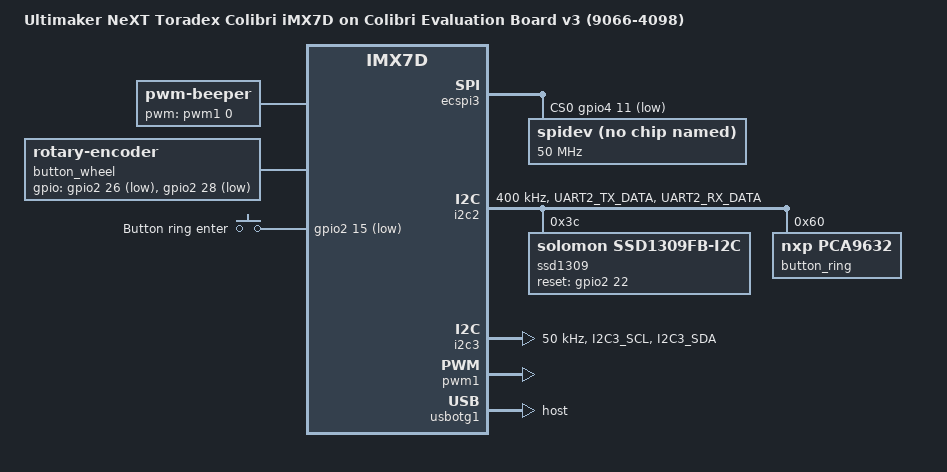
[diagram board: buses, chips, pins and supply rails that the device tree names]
/*
 * Copyright 2017 - Ultimaker B.V.
 * Author Olliver Schinagl <oliver@schinagl.nl>
 *
 * This file is dual-licensed: you can use it either under the terms
 * of the GPL or the X11 license, at your option. Note that this dual
 * licensing only applies to this file, and not this project as a
 * whole.
 *
 *  a) This file is free software; you can redistribute it and/or
 *     modify it under the terms of the GNU General Public License as
 *     published by the Free Software Foundation; either version 2 of the
 *     License, or (at your option) any later version.
 *
 *     This file is distributed in the hope that it will be useful,
 *     but WITHOUT ANY WARRANTY; without even the implied warranty of
 *     MERCHANTABILITY or FITNESS FOR A PARTICULAR PURPOSE.  See the
 *     GNU General Public License for more details.
 *
 * Or, alternatively,
 *
 *  b) Permission is hereby granted, free of charge, to any person
 *     obtaining a copy of this software and associated documentation
 *     files (the "Software"), to deal in the Software without
 *     restriction, including without limitation the rights to use,
 *     copy, modify, merge, publish, distribute, sublicense, and/or
 *     sell copies of the Software, and to permit persons to whom the
 *     Software is furnished to do so, subject to the following
 *     conditions:
 *
 *     The above copyright notice and this permission notice shall be
 *     included in all copies or substantial portions of the Software.
 *
 *     THE SOFTWARE IS PROVIDED "AS IS", WITHOUT WARRANTY OF ANY KIND,
 *     EXPRESS OR IMPLIED, INCLUDING BUT NOT LIMITED TO THE WARRANTIES
 *     OF MERCHANTABILITY, FITNESS FOR A PARTICULAR PURPOSE AND
 *     NONINFRINGEMENT. IN NO EVENT SHALL THE AUTHORS OR COPYRIGHT
 *     HOLDERS BE LIABLE FOR ANY CLAIM, DAMAGES OR OTHER LIABILITY,
 *     WHETHER IN AN ACTION OF CONTRACT, TORT OR OTHERWISE, ARISING
 *     FROM, OUT OF OR IN CONNECTION WITH THE SOFTWARE OR THE USE OR
 *     OTHER DEALINGS IN THE SOFTWARE.
 */

#include "imx7d-colibri-eval-v3.dts"

#include <dt-bindings/gpio/gpio.h>
#include <dt-bindings/input/input.h>
#include <dt-bindings/pwm/pwm.h>

/ {
	model = "Ultimaker NeXT Toradex Colibri iMX7D on Colibri Evaluation Board v3 (9066-4098)";
	compatible = "ultimaker,9066-4098", "toradex,colibri-imx7d-eval-v3",
		     "toradex,colibri-imx7d", "fsl,imx7d";


	beeper {
		pwm-names ="opinicus-board-beeper";
		compatible = "pwm-beeper";
		pwms = <&pwm1 0 500000 0>;
		status = "okay";
	};

	button_wheel {
		pinctrl-names = "default";
		pinctrl-0 = <&button_wheel_pins_a>;
		compatible = "rotary-encoder";
		gpios = <&gpio2 26 GPIO_ACTIVE_LOW>, <&gpio2 28 GPIO_ACTIVE_LOW>;
		linux,axis = <8>; /* REL_Z */
		rotary-encoder,relative-axis;
		rotary-encoder,steps-per-period = <4>;
		status = "okay";
	};

	button_center {
		pinctrl-names = "default";
		pinctrl-0 = <&button_center_pins_a>;
		compatible = "gpio-keys";
		status = "okay";

		button_enter {
			label = "Button ring enter";
			gpios = <&gpio2 15 GPIO_ACTIVE_LOW>;
			linux,code = <KEY_ENTER>;
			wakeup-source;
		};
	};
};

&bl {
	/delete-property/ compatible;
	/delete-property/ pwms;
};

&ecspi3 {
	pinctrl-names = "default";
	pinctrl-0 = <&pinctrl_ecspi3>, <&pinctrl_ecspi3_cs>;
	cs-gpios = <&gpio4 11 GPIO_ACTIVE_LOW>;
	status = "okay";

	spidev@0 {
		compatible = "linux,spidev";
		spi-max-frequency = <50000000>;
		reg = <0>;
	};	
};

&iomuxc {
	/delete-node/ pinctrl_gpio1;
	/delete-node/ pinctrl_gpio2;
	/delete-node/ pinctrl_uart2;

	rtos_reset_pins: rtosresetgrp {
		fsl,pins = <
			MX7D_PAD_EPDC_DATA10__GPIO2_IO10	0x0014
		>;
	};

	display_reset_pins: displayresetgrp {
		fsl,pins = <
			MX7D_PAD_EPDC_SDCE2__GPIO2_IO22		0x0014
		>;
	};

	button_wheel_pins_a: butwheelgrp {
		fsl,pins = <
			MX7D_PAD_EPDC_BDR0__GPIO2_IO28		0x0054
			MX7D_PAD_EPDC_GDRL__GPIO2_IO26		0x0054
		>;
	};

	button_center_pins_a: butcentgrp {
		fsl,pins = <
			MX7D_PAD_EPDC_DATA15__GPIO2_IO15	0x0054
		>;
	};

	i2c2_pins_a: i2c2grp {
		fsl,pins = <
			MX7D_PAD_UART2_TX_DATA__I2C2_SDA	0x40000057
			MX7D_PAD_UART2_RX_DATA__I2C2_SCL	0x40000057
		>;
	};

	i2c3_pins_a: i2c3grp {
		fsl,pins = <
			MX7D_PAD_I2C3_SCL__I2C3_SCL		0x4000003f
			MX7D_PAD_I2C3_SDA__I2C3_SDA		0x4000003f
		>;
	};
};

&i2c2 {
	pinctrl-names = "default";
	pinctrl-0 = <&i2c2_pins_a>;
	status = "okay";
	clock-frequency = <400000>;

	ssd1309@3c {
		compatible = "solomon,ssd1309fb-i2c";
		pinctrl-names = "default";
		pinctrl-0 = <&display_reset_pins>;
		reg = <0x3c>;
		reset-gpios = <&gpio2 22 GPIO_ACTIVE_HIGH>;
		solomon,width = <128>;
		solomon,height = <64>;
		solomon,com-invdir;
		solomon,page-offset = <0>;
		solomon,prechargep1 = <2>;
		solomon,prechargep2 = <8>;
	};

	button_ring@60 {
		compatible = "nxp,pca9632";
		#address-cells = <1>;
		#size-cells = <0>;
		reg = <0x60>;
		nxp,totem-pole;
		nxp,inverted-out;
		nxp,hw-blink;

		red@0 {
			label = "red:button_ring";
			reg = <0>;
			linux,default-trigger = "none";
		};

		green@1 {
			label = "green:button_ring";
			reg = <1>;
			linux,default-trigger = "default-on";
		};

		blue@2 {
			label = "blue:button_ring";
			reg = <2>;
			linux,default-trigger = "default-on";
		};

		unused@3 {
			label = "unused";
			reg = <3>;
			linux,default-trigger = "none";
		};
	};
};

&i2c3 {
	pinctrl-names = "default";
	pinctrl-0 = <&i2c3_pins_a>;
	status = "okay";
	clock-frequency = <50000>;
};

&pwm1 {
	status = "okay";
};

/* probably not needed */
&reg_5v0 {
	regulator-always-on;
};

&uart2 {
	status = "disabled";
};

&usbotg1 {
	dr_mode = "host";
};
